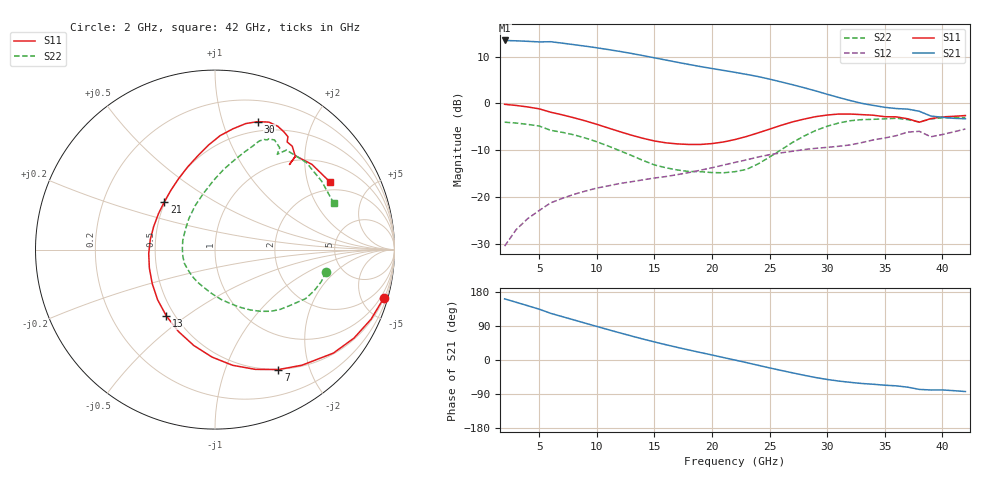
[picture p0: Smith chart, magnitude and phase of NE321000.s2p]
! NEC Compound Semiconductor Devices Ltd.
! NE321000
! Ultra Low Noise Pseudomorphic HJ FET
! VDS = 2 V, IDS = 10 mA
#  GHz  S  MA  R  50
!  f  S11  S21  S12  S22
!	 GHz  MAG  ANG  MAG  ANG  MAG  ANG  MAG  ANG
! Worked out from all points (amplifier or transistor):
!   41 points, 2 GHz to 42 GHz, reference 50 ohm
!   highest |S21| = 13.4 dB at 2 GHz (marker M1)
!   |S21| within 3 dB of that: start of sweep to 13.51 GHz
!   unconditionally stable (mu >= 1): 15.53 GHz to 23.93 GHz
!   at 8 GHz: K = 0.63, MSG = 16.0 dB, |S12| = -19.4 dB
!   at 22 GHz: K = 1.03, MAG = 8.5 dB, |S12| = -12.6 dB
!   at 42 GHz: K = 0.97, MSG = 1.1 dB, |S12| = -5.4 dB
!   lowest NFmin = 0.21 dB at 2 GHz
!   S11 on the Smith chart (normalised r, x): 2 GHz: 0.55, -7.13; 7 GHz: 0.50, -1.55; 13 GHz: 0.45, -0.42; 21 GHz: 0.50, +0.31; 30 GHz: 0.40, +1.31; 42 GHz: 1.65, +2.78
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2  0.979 -15.9  4.7 161.4  0.03 0.1  0.631 -11.4
4  0.918 -32.5  4.602 143.3  0.059 70.7  0.598 -22.6
5  0.876 -41.2  4.536 134.1  0.072 65.9  0.574 -28.4
6  0.806 -53.0  4.557 123.2  0.087 59.4  0.517 -37.5
7  0.756 -62.1  4.4 114.5  0.097 55.2  0.492 -42.7
9  0.652 -81.3  4.086 97.2  0.116 47.1  0.428 -53.5
11  0.547 -102.5  3.757 80.0  0.132 39.4  0.351 -66.4
13  0.459 -126.1  3.418 63.5  0.146 32.8  0.279 -83.2
14  0.425 -138.7  3.241 55.4  0.153 29.6  0.247 -93.6
16  0.38 -164.2  2.904 40.4  0.166 24.3  0.206 -118.2
18  0.365 171.4  2.606 26.4  0.183 19.9  0.188 -144.1
21  0.388 136.7  2.252 6.5  0.22 13.0  0.182 178.7
22  0.412 126.6  2.146 -0.1  0.235 10.2  0.187 163.8
25  0.532 100.3  1.819 -20.8  0.284 -0.7  0.268 114.5
27  0.636 87.4  1.584 -34.0  0.309 -9.2  0.384 91.4
29  0.723 76.2  1.361 -46.3  0.332 -17.9  0.514 77.5
30  0.752 71.5  1.253 -51.3  0.34 -21.7  0.571 72.9
33  0.76 59.7  1.003 -62.0  0.382 -29.8  0.672 65.9
36  0.719 53.2  0.882 -68.2  0.453 -40.5  0.695 61.5
38  0.63 48.8  0.825 -77.6  0.504 -57.8  0.634 56.9
39  0.689 49.2  0.734 -79.1  0.441 -60.3  0.683 54.3
42  0.743 30.5  0.686 -83.2  0.534 -67.4  0.71 21.5
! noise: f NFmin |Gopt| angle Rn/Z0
2  0.21  0.94  3.7  0.31
4  0.22  0.87  8.2  0.31
6  0.24  0.82  13.3  0.32
10  0.28  0.73  24.8  0.32
12  0.31  0.69  31.4  0.31
14  0.38  0.67  38.4  0.31
18  0.52  0.63  53.9  0.29
20  0.59  0.62  62.4  0.28
22  0.66  0.61  71.4  0.27
26  0.79  0.63  90.8  0.23
